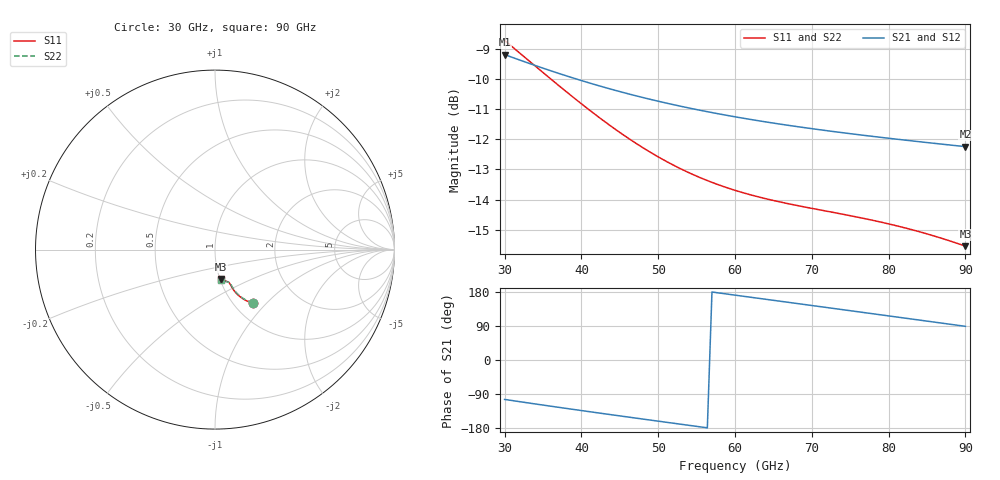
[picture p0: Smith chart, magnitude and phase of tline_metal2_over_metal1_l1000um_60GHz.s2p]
#  GHZ S DB R 50
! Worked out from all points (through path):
!   101 points, 30 GHz to 90 GHz, reference 50 ohm
!   highest |S21| = -9.20 dB at 30 GHz (marker M1); lowest = -12.2 dB at 90 GHz (marker M2)
!   group delay of S21, straight-line fit = 7.68 ps
!   lowest |S11| = -15.5 dB at 90 GHz (marker M3), VSWR 1.40, Z = 50.7 - j17 ohm
!   |S11| at or under -10 dB: 35.97 GHz to end of sweep
!   |S22| runs from -15.4 to -8.7 dB; largest |S21 - S12| = 0
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30  -8.73 -54.7  -9.20 -104.0  -9.20 -104.0  -8.74 -54.4
32.4  -9.24 -57.2  -9.42 -111.3  -9.42 -111.3  -9.25 -56.8
34.8  -9.75 -59.3  -9.63 -118.4  -9.63 -118.4  -9.76 -58.9
37.2  -10.26 -61.1  -9.84 -125.4  -9.84 -125.4  -10.26 -60.7
40.2  -10.87 -62.9  -10.08 -134.0  -10.08 -134.0  -10.86 -62.4
42.6  -11.34 -64.0  -10.26 -140.8  -10.26 -140.8  -11.33 -63.4
45  -11.78 -64.8  -10.43 -147.5  -10.43 -147.5  -11.76 -64.1
47.4  -12.19 -65.3  -10.58 -154.2  -10.58 -154.2  -12.16 -64.7
50.4  -12.64 -65.8  -10.77 -162.5  -10.77 -162.5  -12.61 -65.0
52.8  -12.97 -66.0  -10.90 -169.1  -10.90 -169.1  -12.91 -65.2
55.2  -13.25 -66.1  -11.03 -175.7  -11.03 -175.7  -13.18 -65.4
57.6  -13.49 -66.3  -11.15 177.7  -11.15 177.7  -13.41 -65.5
60  -13.69 -66.5  -11.26 171.2  -11.26 171.2  -13.61 -65.7
64.8  -14.02 -67.1  -11.46 158.1  -11.46 158.1  -13.91 -66.4
67.2  -14.15 -67.6  -11.55 151.5  -11.55 151.5  -14.03 -67.0
70.2  -14.30 -68.5  -11.66 143.3  -11.66 143.3  -14.17 -67.9
73.2  -14.45 -69.5  -11.76 135.1  -11.76 135.1  -14.30 -69.0
75.6  -14.57 -70.5  -11.84 128.5  -11.84 128.5  -14.41 -70.1
80.4  -14.83 -72.8  -11.98 115.3  -11.98 115.3  -14.66 -72.6
85.2  -15.15 -75.4  -12.12 102.1  -12.12 102.1  -14.98 -75.3
87.6  -15.34 -76.7  -12.18 95.5  -12.18 95.5  -15.16 -76.7
90  -15.54 -78.0  -12.25 88.8  -12.25 88.8  -15.36 -78.1
